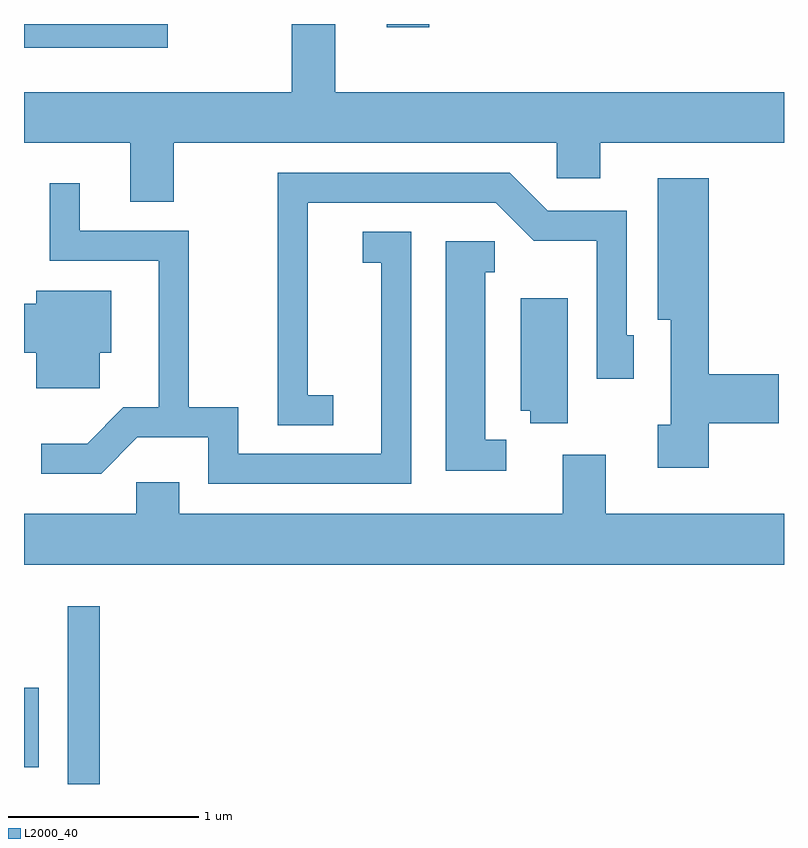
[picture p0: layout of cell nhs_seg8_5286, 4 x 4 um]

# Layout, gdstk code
import gdstk
lib = gdstk.Library(unit=1e-6, precision=1e-09)
def R(c, l, rs):  # rectangles x0, y0, x1, y1
    for r in rs: c.add(gdstk.rectangle(r[:2], r[2:], *l))
def P(c, l, *ps):  # polygons
    for p in ps: c.add(gdstk.Polygon(p, *l))
L2000_40 = (2000, 40)

nhs_seg8_5286 = lib.new_cell('nhs_seg8_5286')
R(nhs_seg8_5286, L2000_40, [(343.841,1866.342,344.009,1867.278), (343.611,1866.431,343.689,1866.849), (343.611,1870.216,344.368,1870.342), (345.521,1870.326,345.744,1870.342)])
P(nhs_seg8_5286, L2000_40, [(344.399,1869.716),(346.416,1869.716),(346.416,1869.531),(346.644,1869.531),(346.644,1869.716),(347.611,1869.716),(347.611,1869.984),(345.249,1869.984),(345.249,1870.342),(345.021,1870.342),(345.021,1869.984),(343.611,1869.984),(343.611,1869.716),(344.171,1869.716),(344.171,1869.406),(344.399,1869.406)],
  [(345.238,1868.389),(345.104,1868.389),(345.104,1869.401),(346.094,1869.401),(346.294,1869.201),(346.626,1869.201),(346.626,1868.476),(346.819,1868.476),(346.819,1868.704),(346.784,1868.704),(346.784,1869.359),(346.367,1869.359),(346.167,1869.559),(344.946,1869.559),(344.946,1868.231),(345.238,1868.231)],
  [(347.214,1868.241),(347.584,1868.241),(347.584,1868.499),(347.214,1868.499),(347.214,1869.529),(346.946,1869.529),(346.946,1868.786),(347.016,1868.786),(347.016,1868.234),(346.946,1868.234),(346.946,1868.006),(347.214,1868.006)],
  [(345.649,1869.249),(345.393,1869.249),(345.393,1869.086),(345.491,1869.086),(345.491,1868.079),(344.739,1868.079),(344.739,1868.324),(344.479,1868.324),(344.479,1869.254),(343.904,1869.254),(343.904,1869.503),(343.746,1869.503),(343.746,1869.096),(344.321,1869.096),(344.321,1868.324),(344.134,1868.324),(343.944,1868.134),(343.703,1868.134),(343.703,1867.976),(344.017,1867.976),(344.207,1868.166),(344.581,1868.166),(344.581,1867.921),(345.649,1867.921)],
  [(346.148,1868.154),(346.039,1868.154),(346.039,1869.036),(346.088,1869.036),(346.088,1869.199),(345.831,1869.199),(345.831,1867.991),(346.148,1867.991)],
  [(344.009,1868.611),(344.069,1868.611),(344.069,1868.939),(343.676,1868.939),(343.676,1868.869),(343.611,1868.869),(343.611,1868.611),(343.676,1868.611),(343.676,1868.426),(344.009,1868.426)],
  [(346.474,1868.899),(346.226,1868.899),(346.226,1868.306),(346.276,1868.306),(346.276,1868.241),(346.474,1868.241)],
  [(347.611,1867.764),(346.674,1867.764),(346.674,1868.074),(346.446,1868.074),(346.446,1867.764),(344.429,1867.764),(344.429,1867.929),(344.201,1867.929),(344.201,1867.764),(343.611,1867.764),(343.611,1867.496),(347.611,1867.496)])

lib.write_gds('nhs_seg8_5286.gds')
